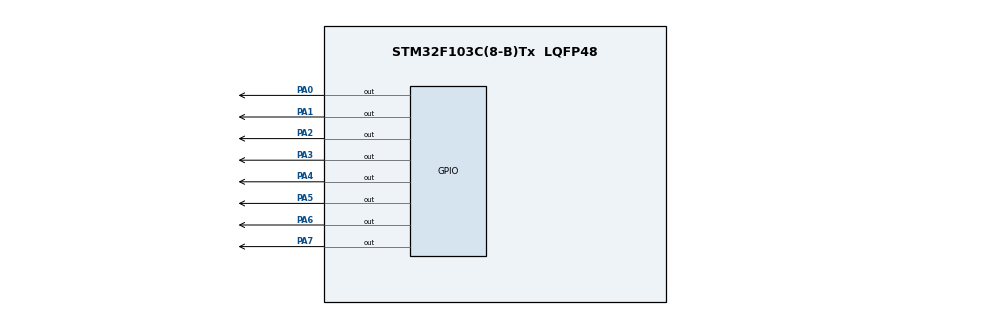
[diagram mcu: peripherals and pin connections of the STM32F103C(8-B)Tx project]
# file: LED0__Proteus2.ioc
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Mcu.Family=STM32F1
Mcu.Name=STM32F103C(8-B)Tx
Mcu.Package=LQFP48
NVIC.PriorityGroup=NVIC_PRIORITYGROUP_4
PA0-WKUP.Signal=GPIO_Output
PA1.Signal=GPIO_Output
PA2.Signal=GPIO_Output
PA3.Signal=GPIO_Output
PA4.Signal=GPIO_Output
PA5.Signal=GPIO_Output
PA6.Signal=GPIO_Output
PA7.Signal=GPIO_Output
ProjectManager.HeapSize=0x200
ProjectManager.StackSize=0x400
ProjectManager.TargetToolchain=STM32CubeIDE
RCC.APB1Freq_Value=8000000
RCC.APB2Freq_Value=8000000
board=custom

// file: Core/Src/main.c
/* USER CODE BEGIN Header */
/**
  ******************************************************************************
  * @file           : main.c
  * @brief          : Main program body
  ******************************************************************************
  * @attention
  *
  * Copyright (c) 2025 STMicroelectronics.
  * All rights reserved.
  *
  * This software is licensed under terms that can be found in the LICENSE file
  * in the root directory of this software component.
  * If no LICENSE file comes with this software, it is provided AS-IS.
  *
  ******************************************************************************
  */
/* USER CODE END Header */
#include "main.h"

void SystemClock_Config(void);
static void MX_GPIO_Init(void);

/* USER CODE BEGIN 0 */

//stm32f103c8
#define 	Delay_ms		HAL_Delay
#define     PORTA			GPIOA->ODR
#define 	PORTA2(x)		HAL_GPIO_WritePin(GPIOA, x, GPIO_PIN_SET);

#define    _7SEGMENTOS(x)               (GPIOA->ODR = (0xFF80&GPIOA->ODR) | (0x007F&x))
//_ #define    _7SEGMENTOS(x)               (GPIOA->ODR |= (x&0x007F))

uint8_t segment[10]={
63,6,91,79,102,109,125,7,127,103
};

/* USER CODE END 0 */

int main(void)
{

  /* USER CODE BEGIN 1 */
	//TRISD = 0x00;
	int i, j;

  /* USER CODE END 1 */

  /* MCU Configuration--------------------------------------------------------*/

  /* Reset of all peripherals, Initializes the Flash interface and the Systick. */
  HAL_Init();

  /* Configure the system clock */
  SystemClock_Config();

  /* Initialize all configured peripherals */
  MX_GPIO_Init();

  /* Infinite loop */
  while (1)
  {

    /* USER CODE BEGIN 3 */
/*
	   PORTA = 0x00;
	   Delay_ms(1000);

	   PORTA = 0b00000001;        // 1  led
	   Delay_ms(1000);

	   PORTA = 0b00000010;        // 2  led
	   Delay_ms(1000);

	   PORTA = 0b00000100;        // 3  led
	   Delay_ms(1000);

	   PORTA = 0b00001000;        // 4  led
	   Delay_ms(1000);

	   PORTA = 0b00010000;        // 5  led
	   Delay_ms(1000);

	   PORTA = 0b00100000;        // 6  led
	   Delay_ms(1000);

	   PORTA = 0b01000000;        // 7  led
	   Delay_ms(1000);

	   PORTA = 0b10000000;        // 8  led
	   Delay_ms(1000);
*/

	   i = 0;
		for(; i< 8; i++){
		  PORTA = 1<<i;         // 'i'  led
		  Delay_ms(1000);
		}
		j = 0;
		for(; j< 10; j++){
		  PORTA = j;         // 'i'  led
		  Delay_ms(1000);
		}
		j = 0;
		for(; j< 10; j++){
		  PORTA = segment[j];         // 'i'  led
		  Delay_ms(1000);
		}

  }
  /* USER CODE END 3 */
}

void SystemClock_Config(void)
{
  RCC_OscInitTypeDef RCC_OscInitStruct = {0};
  RCC_ClkInitTypeDef RCC_ClkInitStruct = {0};

  /** Initializes the RCC Oscillators according to the specified parameters
  * in the RCC_OscInitTypeDef structure.
  */
  RCC_OscInitStruct.OscillatorType = RCC_OSCILLATORTYPE_HSI;
  RCC_OscInitStruct.HSIState = RCC_HSI_ON;
  RCC_OscInitStruct.HSICalibrationValue = RCC_HSICALIBRATION_DEFAULT;
  RCC_OscInitStruct.PLL.PLLState = RCC_PLL_NONE;
  if (HAL_RCC_OscConfig(&RCC_OscInitStruct) != HAL_OK)
  {
    Error_Handler();
  }

  /** Initializes the CPU, AHB and APB buses clocks
  */
  RCC_ClkInitStruct.ClockType = RCC_CLOCKTYPE_HCLK|RCC_CLOCKTYPE_SYSCLK
                              |RCC_CLOCKTYPE_PCLK1|RCC_CLOCKTYPE_PCLK2;
  RCC_ClkInitStruct.SYSCLKSource = RCC_SYSCLKSOURCE_HSI;
  RCC_ClkInitStruct.AHBCLKDivider = RCC_SYSCLK_DIV1;
  RCC_ClkInitStruct.APB1CLKDivider = RCC_HCLK_DIV1;
  RCC_ClkInitStruct.APB2CLKDivider = RCC_HCLK_DIV1;

  if (HAL_RCC_ClockConfig(&RCC_ClkInitStruct, FLASH_LATENCY_0) != HAL_OK)
  {
    Error_Handler();
  }
}

static void MX_GPIO_Init(void)
{
  GPIO_InitTypeDef GPIO_InitStruct = {0};

  /* GPIO Ports Clock Enable */
  __HAL_RCC_GPIOA_CLK_ENABLE();

  /*Configure GPIO pin Output Level */
  HAL_GPIO_WritePin(GPIOA, GPIO_PIN_0|GPIO_PIN_1|GPIO_PIN_2|GPIO_PIN_3
                          |GPIO_PIN_4|GPIO_PIN_5|GPIO_PIN_6|GPIO_PIN_7, GPIO_PIN_RESET);

  /*Configure GPIO pins : PA0 PA1 PA2 PA3
                           PA4 PA5 PA6 PA7 */
  GPIO_InitStruct.Pin = GPIO_PIN_0|GPIO_PIN_1|GPIO_PIN_2|GPIO_PIN_3
                          |GPIO_PIN_4|GPIO_PIN_5|GPIO_PIN_6|GPIO_PIN_7;
  GPIO_InitStruct.Mode = GPIO_MODE_OUTPUT_PP;
  GPIO_InitStruct.Pull = GPIO_NOPULL;
  GPIO_InitStruct.Speed = GPIO_SPEED_FREQ_LOW;
  HAL_GPIO_Init(GPIOA, &GPIO_InitStruct);

}

void Error_Handler(void)
{
  __disable_irq();
  while (1)
  {
  }
}
